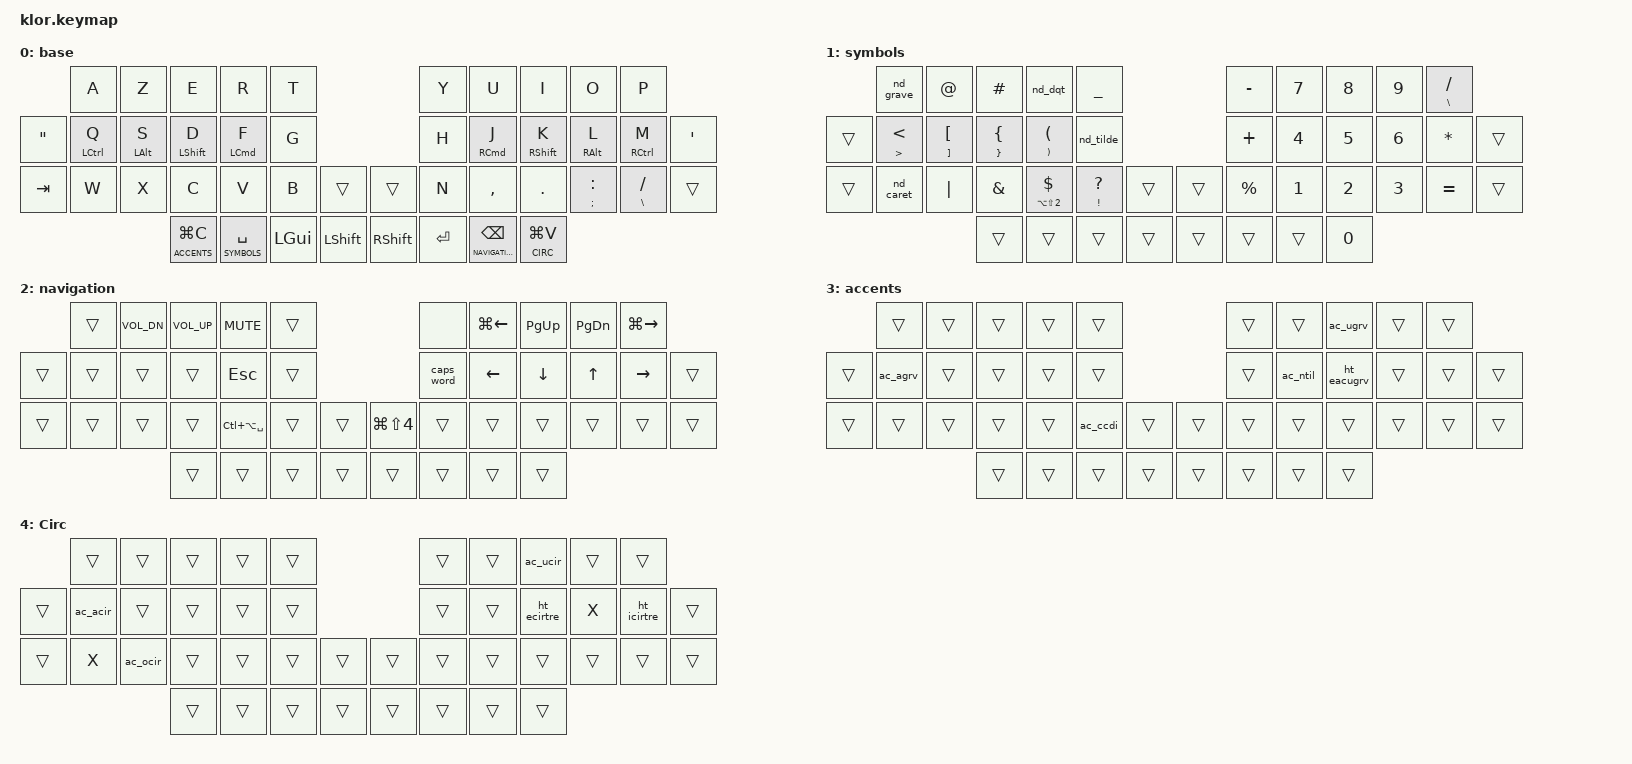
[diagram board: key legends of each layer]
#include <behaviors.dtsi>
#include <dt-bindings/zmk/bt.h>
#include <dt-bindings/zmk/keys.h>

#define BASE 0
#define SYMBOLS 1
#define NAVIGATION 2
#define ACCENTS 3
#define CIRC 4


#include "features/behaviors.dtsi"
#include "features/accents.dtsi"
#include "features/symbols.dtsi"

/ {
    

    keymap {
        compatible = "zmk,keymap";

        base {
            bindings = <
        &kp A         &kp Z        &kp E              &kp R              &kp T                                     &kp Y    &kp U                &kp I           &kp O          &kp P
&kp DQT &hml LCTRL Q  &hml LALT S  &hml LSHFT D       &hml LCMD F        &kp G                                     &kp H    &hmr RCMD J          &hmr RSHFT K    &hmr RALT L    &hmr RCTRL M   &kp SQT
&kp TAB &kp W         &kp X        &kp C              &kp V              &kp B    &trans                 &trans    &kp N    &kp COMMA            &kp DOT         &mt SEMI COLON &mt BSLH FSLH  &trans
                                   &lt ACCENTS LG(C)  &lt SYMBOLS SPACE  &kp LGUI &kp LSHFT              &kp RSHFT &kp RET  &lt NAVIGATION BSPC  &lt CIRC LG(V)
            >;

            label = "base";
        };

        symbols {
            bindings = <
        &nd_grave  &kp AT         &kp HASH       &nd_dqt                &kp UNDERSCORE                             &kp MINUS  &kp N7     &kp N8  &kp N9  &mt BSLH FSLH
&trans  &mt GT LT  &mt RBKT LBKT  &mt RBRC LBRC  &mt RPAR LPAR          &nd_tilde                                  &kp PLUS   &kp N4     &kp N5  &kp N6  &kp STAR       &trans
&trans  &nd_caret  &kp PIPE       &kp AMPS       &mt LA(LS(N2)) DOLLAR  &mt EXCL QMARK  &trans            &trans   &kp PRCNT  &kp N1     &kp N2  &kp N3  &kp EQUAL      &trans
                                  &trans         &trans                 &trans          &trans            &trans   &trans     &trans     &kp N0
            >;

            label = "symbols";
        };

        navigation {
            bindings = <
        &trans     &kp C_VOL_DN  &kp C_VOL_UP  &kp C_MUTE  &trans                                                 &none               &kp LG(LEFT)  &kp PAGE_UP  &kp PAGE_DOWN  &kp LG(RIGHT)
&trans  &trans     &trans        &trans        &kp ESC     &trans                                                 &caps_word          &kp LEFT      &kp DOWN     &kp UP         &kp RIGHT
&trans  &trans     &trans        &trans        &trans      &kp LC(LA(SPACE))   &trans                   &trans    &kp LG(LS(N4))      &trans        &trans       &trans         &trans         &trans
                                 &trans        &trans      &trans              &trans                   &trans    &trans              &trans        &trans                                     &trans
            >;

            label = "navigation";
        };

        accents {
            bindings = <
        &trans    &trans  &trans    &trans  &trans                                                               &trans  &trans    &ac_ugrv     &trans  &trans
&trans  &ac_agrv  &trans  &trans    &trans  &trans                                                               &trans  &ac_ntil  &ht_eacugrv  &trans  &trans  &trans
&trans  &trans    &trans  &trans   &trans   &ac_ccdi   &trans                                           &trans   &trans  &trans    &trans       &trans  &trans  &trans
                          &trans    &trans  &trans     &trans                                           &trans   &trans  &trans    &trans
            >;
        };

        circ {
            label = "Accents";
        
            bindings = <
        &trans    &trans    &trans  &trans  &trans                                                                &trans  &trans  &ac_ucir     &trans  &trans
&trans  &ac_acir  &trans    &trans  &trans  &trans                                                                &trans  &trans  &ht_ecirtre  &kp X   &ht_icirtre &trans
&trans  &kp X     &ac_ocir  &trans  &trans  &trans   &trans                                             &trans    &trans  &trans  &trans       &trans  &trans      &trans
                            &trans  &trans  &trans   &trans                                             &trans    &trans  &trans  &trans
            >;

            label = "Circ";
        };

      
    };
};
